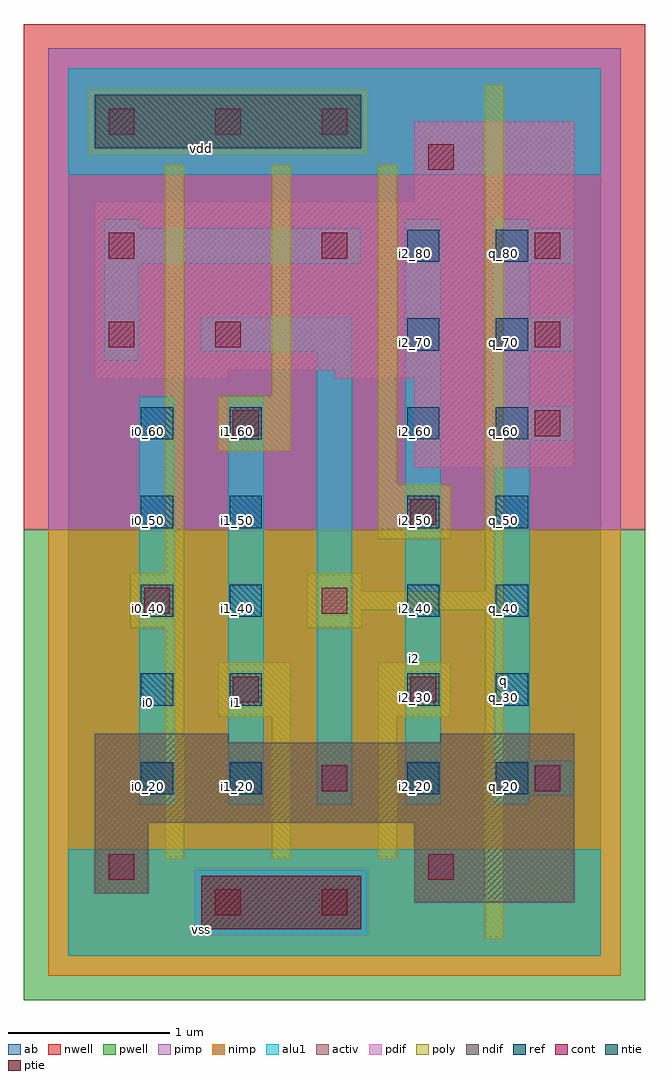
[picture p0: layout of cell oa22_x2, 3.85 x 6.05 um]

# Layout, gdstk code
import gdstk
lib = gdstk.Library(unit=1e-6, precision=2.5e-09)
def R(c, l, rs):  # rectangles x0, y0, x1, y1
    for r in rs: c.add(gdstk.rectangle(r[:2], r[2:], *l))
def A(c, l, x, y, w, h, nx, ny, dx, dy):  # array of equal rectangles
    R(c, l, [(x+i*dx, y+j*dy, x+i*dx+w, y+j*dy+h) for i in range(nx) for j in range(ny)])
ndif = (3, 0)
pdif = (4, 0)
ntie = (5, 0)
ptie = (6, 0)
ref = (24, 0)
cont = (25, 0)
pwell = (41, 0)
nwell = (42, 0)
activ = (43, 0)
pimp = (44, 0)
nimp = (45, 0)
poly = (46, 0)
alu1 = (49, 0)
ab = (63, 0)

oa22_x2 = lib.new_cell('oa22_x2')
R(oa22_x2, ndif, [(2.145,0.33,3.135,0.825), (0.165,0.385,0.495,0.825), (0.165,0.825,3.135,1.32), (0.165,1.32,0.99,1.375), (2.31,1.32,3.135,1.375)])
R(oa22_x2, pdif, [(2.145,3.025,3.135,3.575), (0.165,3.575,0.99,3.63), (1.65,3.575,3.135,3.63), (0.165,3.63,3.135,4.675), (2.145,4.675,3.135,5.17)])
R(oa22_x2, ntie, [(0.165,5.005,1.815,5.335)])
R(oa22_x2, ptie, [(0.825,0.165,1.815,0.495)])
A(oa22_x2, ref, 0.45, 1, 0.2, 0.2, 1, 5, 0, 0.55)
A(oa22_x2, ref, 1, 1, 0.2, 0.2, 1, 5, 0, 0.55)
A(oa22_x2, ref, 2.1, 1, 0.2, 0.2, 1, 7, 0, 0.55)
A(oa22_x2, ref, 2.65, 1, 0.2, 0.2, 1, 7, 0, 0.55)
A(oa22_x2, cont, 0.25, 4.32, 0.16, 0.16, 3, 1, 1.32, 0)
A(oa22_x2, cont, 0.25, 5.09, 0.16, 0.16, 3, 1, 0.66, 0)
R(oa22_x2, cont, [(0.91,0.25,1.07,0.41), (1.57,0.25,1.73,0.41), (0.25,0.47,0.41,0.63), (2.23,0.47,2.39,0.63), (1.57,1.02,1.73,1.18), (2.89,1.02,3.05,1.18), (1.02,1.57,1.18,1.73), (2.12,1.57,2.28,1.73), (0.47,2.12,0.63,2.28), (1.57,2.12,1.73,2.28), (2.12,2.67,2.28,2.83), (1.02,3.22,1.18,3.38), (2.89,3.22,3.05,3.38), (0.25,3.77,0.41,3.93), (0.91,3.77,1.07,3.93), (2.89,3.77,3.05,3.93), (2.23,4.87,2.39,5.03)])
R(oa22_x2, pwell, [(-0.275,-0.275,3.575,2.64)])
R(oa22_x2, nwell, [(-0.275,2.64,3.575,5.775)])
R(oa22_x2, activ, [(0.825,0.165,1.815,0.495), (2.145,0.33,3.135,0.825), (0.165,0.385,0.495,0.825), (0.165,0.825,3.135,1.32), (0.165,1.32,0.99,1.375), (2.31,1.32,3.135,1.375), (2.145,3.025,3.135,3.575), (0.165,3.575,0.99,3.63), (1.65,3.575,3.135,3.63), (0.165,3.63,3.135,4.675), (2.145,4.675,3.135,5.17), (0.165,5.005,1.815,5.335)])
R(oa22_x2, pimp, [(0.785,0.125,1.855,0.535), (-0.125,2.64,3.425,4.965), (-0.125,4.965,0.125,5.375), (1.855,4.965,3.425,5.375), (-0.125,5.375,3.425,5.625)])
R(oa22_x2, nimp, [(-0.125,-0.125,3.425,0.125), (-0.125,0.125,0.785,0.535), (1.855,0.125,3.425,0.535), (-0.125,0.535,3.425,2.64), (0.125,4.965,1.855,5.375)])
R(oa22_x2, poly, [(2.58,0.105,2.7,2.14), (0.6,0.6,0.72,2.03), (1.26,0.6,1.38,1.48), (1.92,0.6,2.04,1.48), (0.93,1.48,1.38,1.82), (1.92,1.48,2.37,1.82), (0.38,2.03,0.72,2.37), (1.48,2.03,1.82,2.14), (1.48,2.14,2.7,2.26), (1.48,2.26,1.82,2.37), (2.58,2.26,2.7,5.395), (0.6,2.37,0.72,4.9), (1.92,2.58,2.37,2.92), (1.92,2.92,2.04,4.9), (0.93,3.13,1.38,3.47), (1.26,3.47,1.38,4.9)])
A(oa22_x2, alu1, 2.64, 3.19, 0.495, 0.22, 1, 3, 0, 0.55)
R(oa22_x2, alu1, [(0,0,3.3,0.66), (0.44,0.935,0.66,3.465), (0.99,0.935,1.21,3.465), (1.54,0.935,1.76,3.74), (2.09,0.935,2.31,4.565), (2.64,0.935,2.86,0.99), (2.64,0.99,3.135,1.21), (2.64,1.21,2.86,3.19), (2.64,3.41,2.86,3.74), (0.22,3.685,0.44,4.29), (0.825,3.74,1.76,3.96), (2.64,3.96,2.86,4.29), (0.22,4.29,1.815,4.51), (0.22,4.51,0.44,4.565), (2.64,4.51,2.86,4.565), (0,4.84,3.3,5.5)])
R(oa22_x2, ab, [(0,0,3.3,5.5)])
oa22_x2.add(gdstk.Label('vss', (0.825,0.165), layer=49, texttype=0))
oa22_x2.add(gdstk.Label('q', (2.695,1.705), layer=49, texttype=0))
oa22_x2.add(gdstk.Label('i2', (2.145,1.8425), layer=49, texttype=0))
oa22_x2.add(gdstk.Label('i1', (1.045,1.5675), layer=49, texttype=0))
oa22_x2.add(gdstk.Label('i0', (0.495,1.5675), layer=49, texttype=0))
oa22_x2.add(gdstk.Label('vdd', (0.825,5.005), layer=49, texttype=0))
oa22_x2.add(gdstk.Label('i0_20', (0.5,1.05), layer=24, texttype=0))
oa22_x2.add(gdstk.Label('i0_30', (0.5,1.6), layer=24, texttype=0))
oa22_x2.add(gdstk.Label('i0_40', (0.5,2.15), layer=24, texttype=0))
oa22_x2.add(gdstk.Label('i0_50', (0.5,2.7), layer=24, texttype=0))
oa22_x2.add(gdstk.Label('i0_60', (0.5,3.25), layer=24, texttype=0))
oa22_x2.add(gdstk.Label('i1_60', (1.05,3.25), layer=24, texttype=0))
oa22_x2.add(gdstk.Label('i1_50', (1.05,2.7), layer=24, texttype=0))
oa22_x2.add(gdstk.Label('i1_40', (1.05,2.15), layer=24, texttype=0))
oa22_x2.add(gdstk.Label('i1_30', (1.05,1.6), layer=24, texttype=0))
oa22_x2.add(gdstk.Label('i1_20', (1.05,1.05), layer=24, texttype=0))
oa22_x2.add(gdstk.Label('i2_80', (2.15,4.35), layer=24, texttype=0))
oa22_x2.add(gdstk.Label('i2_70', (2.15,3.8), layer=24, texttype=0))
oa22_x2.add(gdstk.Label('i2_60', (2.15,3.25), layer=24, texttype=0))
oa22_x2.add(gdstk.Label('i2_50', (2.15,2.7), layer=24, texttype=0))
oa22_x2.add(gdstk.Label('i2_40', (2.15,2.15), layer=24, texttype=0))
oa22_x2.add(gdstk.Label('i2_30', (2.15,1.6), layer=24, texttype=0))
oa22_x2.add(gdstk.Label('i2_20', (2.15,1.05), layer=24, texttype=0))
oa22_x2.add(gdstk.Label('q_20', (2.7,1.05), layer=24, texttype=0))
oa22_x2.add(gdstk.Label('q_30', (2.7,1.6), layer=24, texttype=0))
oa22_x2.add(gdstk.Label('q_40', (2.7,2.15), layer=24, texttype=0))
oa22_x2.add(gdstk.Label('q_50', (2.7,2.7), layer=24, texttype=0))
oa22_x2.add(gdstk.Label('q_60', (2.7,3.25), layer=24, texttype=0))
oa22_x2.add(gdstk.Label('q_70', (2.7,3.8), layer=24, texttype=0))
oa22_x2.add(gdstk.Label('q_80', (2.7,4.35), layer=24, texttype=0))

lib.write_gds('oa22_x2.gds')
